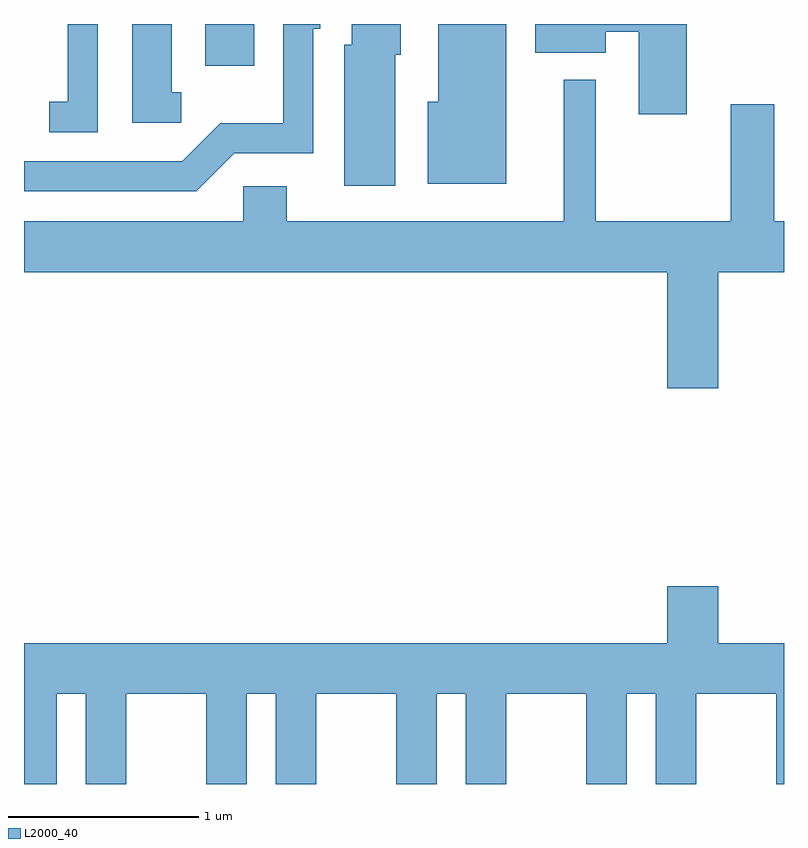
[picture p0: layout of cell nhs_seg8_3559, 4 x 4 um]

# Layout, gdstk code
import gdstk
lib = gdstk.Library(unit=1e-6, precision=1e-09)
def R(c, l, rs):  # rectangles x0, y0, x1, y1
    for r in rs: c.add(gdstk.rectangle(r[:2], r[2:], *l))
def P(c, l, *ps):  # polygons
    for p in ps: c.add(gdstk.Polygon(p, *l))
L2000_40 = (2000, 40)

nhs_seg8_3559 = lib.new_cell('nhs_seg8_3559')
R(nhs_seg8_3559, L2000_40, [(292.566,1884.121,292.824,1884.342)])
P(nhs_seg8_3559, L2000_40, [(295.099,1884.342),(294.301,1884.342),(294.301,1884.191),(294.674,1884.191),(294.674,1884.301),(294.846,1884.301),(294.846,1883.866),(295.099,1883.866)],
  [(294.149,1884.342),(293.791,1884.342),(293.791,1883.934),(293.736,1883.934),(293.736,1883.501),(294.149,1883.501)],
  [(292.717,1883.661),(293.134,1883.661),(293.134,1884.316),(293.169,1884.316),(293.169,1884.342),(292.976,1884.342),(292.976,1883.819),(292.644,1883.819),(292.444,1883.619),(291.611,1883.619),(291.611,1883.461),(292.517,1883.461)],
  [(293.564,1884.181),(293.594,1884.181),(293.594,1884.342),(293.336,1884.342),(293.336,1884.234),(293.296,1884.234),(293.296,1883.491),(293.564,1883.491)],
  [(292.438,1883.984),(292.389,1883.984),(292.389,1884.342),(292.181,1884.342),(292.181,1883.821),(292.438,1883.821)],
  [(291.999,1884.342),(291.841,1884.342),(291.841,1883.934),(291.743,1883.934),(291.743,1883.771),(291.999,1883.771)],
  [(295.264,1883.036),(295.611,1883.036),(295.611,1883.304),(295.559,1883.304),(295.559,1883.919),(295.331,1883.919),(295.331,1883.304),(294.619,1883.304),(294.619,1884.048),(294.451,1884.048),(294.451,1883.304),(292.994,1883.304),(292.994,1883.489),(292.766,1883.489),(292.766,1883.304),(291.611,1883.304),(291.611,1883.036),(294.996,1883.036),(294.996,1882.426),(295.264,1882.426)],
  [(291.784,1880.816),(291.936,1880.816),(291.936,1880.342),(292.149,1880.342),(292.149,1880.816),(292.571,1880.816),(292.571,1880.342),(292.784,1880.342),(292.784,1880.816),(292.936,1880.816),(292.936,1880.342),(293.149,1880.342),(293.149,1880.816),(293.571,1880.816),(293.571,1880.342),(293.784,1880.342),(293.784,1880.816),(293.936,1880.816),(293.936,1880.342),(294.149,1880.342),(294.149,1880.816),(294.571,1880.816),(294.571,1880.342),(294.784,1880.342),(294.784,1880.816),(294.936,1880.816),(294.936,1880.342),(295.149,1880.342),(295.149,1880.816),(295.571,1880.816),(295.571,1880.342),(295.611,1880.342),(295.611,1881.084),(295.264,1881.084),(295.264,1881.384),(294.996,1881.384),(294.996,1881.084),(291.611,1881.084),(291.611,1880.342),(291.784,1880.342)])

lib.write_gds('nhs_seg8_3559.gds')
